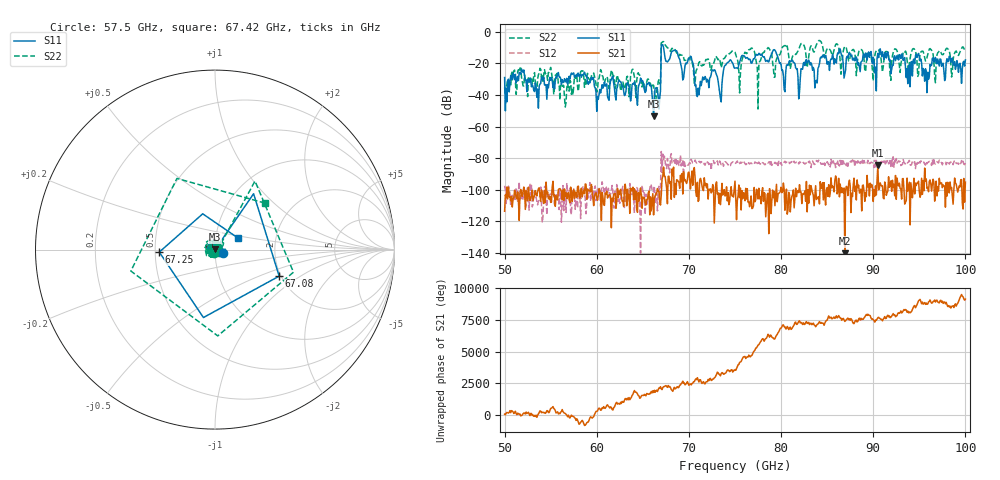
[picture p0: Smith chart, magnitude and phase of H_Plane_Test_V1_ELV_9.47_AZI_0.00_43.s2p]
! 11/27/2026 8:30:11 AM
! C:\ANRITSUVNA\TEMP\TEMP.S2P
! CHANNEL.1
! TR.MEASUREMENT
! RAW.DATA
# HZ S RI R 50.0
! FREQ.HZ  S11RE  S11IM  S21RE  S21IM  S12RE  S12IM  S22RE  S22IM
!; PortSelection: Port_12
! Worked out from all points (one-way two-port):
!   601 points, 50 GHz to 100 GHz, reference 50 ohm
!   highest |S21| = -84.44 dB at 90.5 GHz (marker M1); lowest = -140.0 dB at 86.92 GHz (marker M2)
!   lowest |S11| = -53.7 dB at 66.17 GHz (marker M3), VSWR 1.00, Z = 50.1 + j0.157 ohm
!   |S11| at or under -10 dB: start of sweep to 67 GHz; 67.24 GHz to end of sweep
!   |S22| runs from -48.9 to -5.6 dB; largest |S21 - S12| = 0.00017
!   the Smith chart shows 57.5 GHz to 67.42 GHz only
!   S11 on the Smith chart (normalised r, x): 57.5 GHz: 1.09, -0.05; 67.08 GHz: 1.96, -0.68; 67.25 GHz: 0.53, -0.02; 67.42 GHz: 1.29, +0.17
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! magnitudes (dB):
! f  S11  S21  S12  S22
! 50 GHz  -29.0  -113.5  -97.5  -35.4
! 57.5 GHz  -26.1  -100.0  -99.4  -34.5
! 58.42 GHz  -27.1  -104.5  -100.8  -24.8
! 60.17 GHz  -42.7  -103.6  -100.6  -30.1
! 66.17 GHz  -53.7  -115.9  -100.7  -34.0
! 66.67 GHz  -41.8  -100.9  -100.4  -31.6
! 67.08 GHz  -8.2  -93.2  -89.0  -6.8
! 67.25 GHz  -10.2  -85.6  -80.9  -6.3
! 67.42 GHz  -16.8  -91.5  -82.0  -8.4
! 70.25 GHz  -16.0  -93.1  -80.7  -18.7
! 70.92 GHz  -41.0  -95.3  -82.8  -23.1
! 75 GHz  -23.1  -94.5  -83.2  -13.0
! 77.58 GHz  -13.8  -99.0  -82.4  -21.7
! 78.5 GHz  -18.2  -103.1  -82.7  -10.8
! 79.33 GHz  -11.7  -110.0  -82.6  -28.7
! 80.25 GHz  -27.8  -95.7  -83.1  -9.4
! 83.42 GHz  -24.4  -101.8  -81.8  -10.8
! 86.92 GHz  -26.9  -140.0  -83.4  -9.5
! 90.5 GHz  -13.8  -84.4  -82.3  -11.4
! 91.67 GHz  -16.6  -91.8  -83.6  -15.3
! 95.83 GHz  -38.6  -99.1  -83.5  -16.4
! 100 GHz  -17.9  -95.2  -83.2  -12.5
